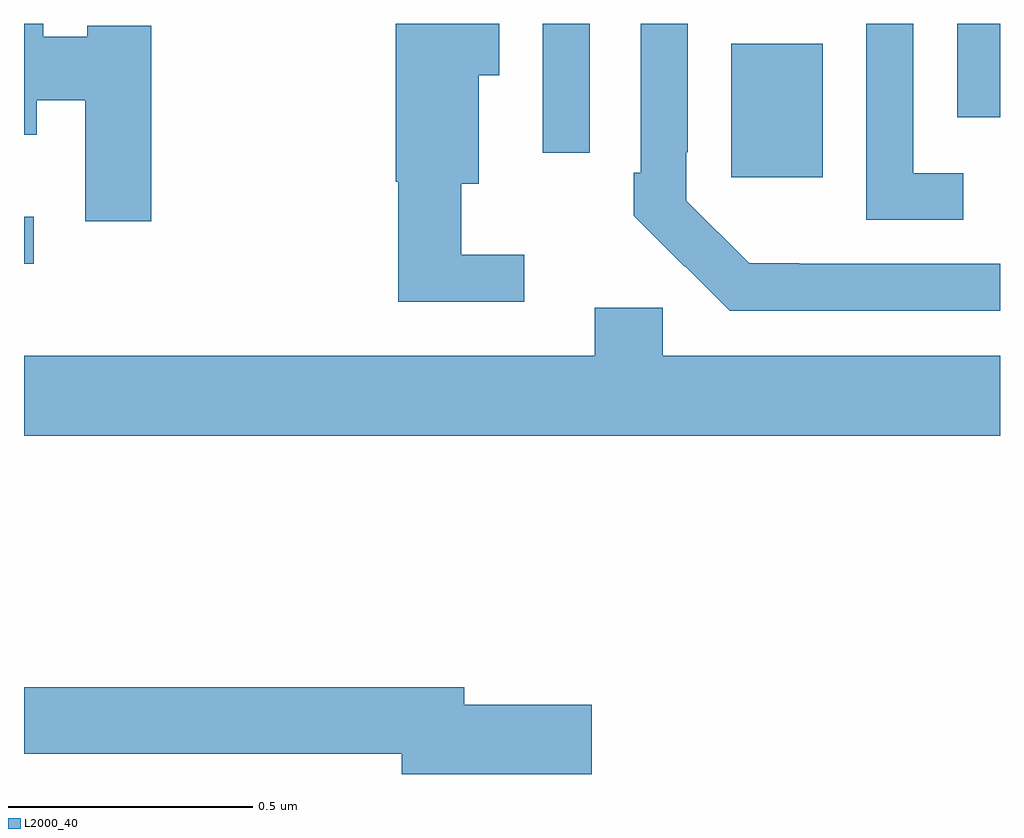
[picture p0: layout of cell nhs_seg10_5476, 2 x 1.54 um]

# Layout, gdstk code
import gdstk
lib = gdstk.Library(unit=1e-6, precision=1e-09)
def R(c, l, rs):  # rectangles x0, y0, x1, y1
    for r in rs: c.add(gdstk.rectangle(r[:2], r[2:], *l))
def P(c, l, *ps):  # polygons
    for p in ps: c.add(gdstk.Polygon(p, *l))
L2000_40 = (2000, 40)

nhs_seg10_5476 = lib.new_cell('nhs_seg10_5476')
R(nhs_seg10_5476, L2000_40, [(179,1294.008,179.02,1294.104), (180.449,1294.185,180.637,1294.459), (180.063,1294.236,180.159,1294.5), (180.912,1294.308,181,1294.5)])
P(nhs_seg10_5476, L2000_40, [(180.925,1294.194),(180.822,1294.194),(180.822,1294.5),(180.726,1294.5),(180.726,1294.098),(180.925,1294.098)],
  [(179.261,1294.496),(179.13,1294.496),(179.13,1294.473),(179.039,1294.473),(179.039,1294.5),(179,1294.5),(179,1294.272),(179.026,1294.272),(179.026,1294.343),(179.126,1294.343),(179.126,1294.095),(179.261,1294.095)],
  [(180.025,1294.027),(179.896,1294.027),(179.896,1294.172),(179.932,1294.172),(179.932,1294.394),(179.974,1294.394),(179.974,1294.5),(179.762,1294.5),(179.762,1294.176),(179.767,1294.176),(179.767,1293.93),(180.025,1293.93)],
  [(181,1294.008),(180.589,1294.008),(180.589,1294.009),(180.486,1294.009),(180.357,1294.137),(180.357,1294.237),(180.36,1294.237),(180.36,1294.5),(180.264,1294.5),(180.264,1294.195),(180.249,1294.195),(180.249,1294.107),(180.354,1294.002),(180.355,1294.003),(180.446,1293.912),(181,1293.912)],
  [(181,1293.82),(180.309,1293.82),(180.309,1293.918),(180.17,1293.918),(180.17,1293.82),(179,1293.82),(179,1293.656),(181,1293.656)],
  [(180.163,1293.104),(179.902,1293.104),(179.902,1293.14),(179,1293.14),(179,1293.004),(179.774,1293.004),(179.774,1292.962),(180.163,1292.962)])

lib.write_gds('nhs_seg10_5476.gds')
